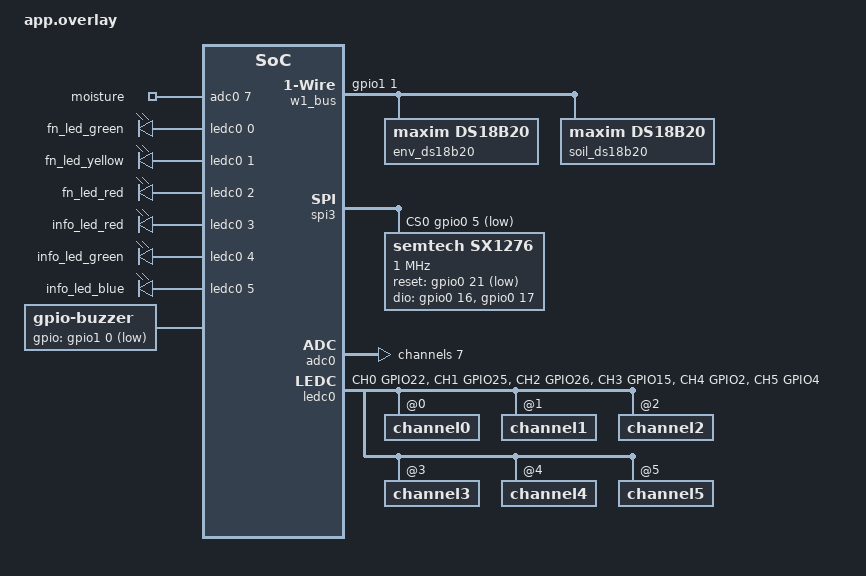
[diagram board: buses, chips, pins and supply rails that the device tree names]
&spi3 {
  status = "okay";
  cs-gpios = <&gpio0 5 (GPIO_ACTIVE_LOW | GPIO_PULL_UP)>;

  sx1276: lora@0 {
    compatible = "semtech,sx1276";
    reg = <0>;

    reset-gpios = <&gpio0 21 GPIO_ACTIVE_LOW>;

    // order of dio pins matters - idx 0 -> DIO0, idx 1 -> DIO1 and so on
    dio-gpios = <&gpio0 16 (GPIO_PULL_DOWN | GPIO_ACTIVE_HIGH)>,
      <&gpio0 17 (GPIO_PULL_DOWN | GPIO_ACTIVE_HIGH)>;
    spi-max-frequency = <1000000>;
    power-amplifier-output = "pa-boost";
  };
};


&adc0 {
    status = "okay";
    #address-cells = <1>;
    #size-cells = <0>;

    channel@7 {
        reg = <7>;
        zephyr,gain = "ADC_GAIN_1_4";
        zephyr,reference = "ADC_REF_INTERNAL";
        zephyr,acquisition-time = <ADC_ACQ_TIME_DEFAULT>;
        zephyr,resolution = <12>;
        zephyr,vref-mv = <1100>;
    };
};


&pinctrl {
  ledc0_default: ledc0_default {
    // function led green
    group1 {
      pinmux =
        <LEDC_CH0_GPIO22>, // fn-led-green

        // In prod
        /* <LEDC_CH1_GPIO1>, // fn-led-yellow */
        /* <LEDC_CH2_GPIO3>, // fn-led-red */

        // When testing to keep UART
        <LEDC_CH1_GPIO25>, // fn-led-yellow
        <LEDC_CH2_GPIO26>, // fn-led-red

        <LEDC_CH3_GPIO15>, // info-led-red
        <LEDC_CH4_GPIO2>, // info-led-green
        <LEDC_CH5_GPIO4>; // info-led-blue
      output-enable;
    };
  };
};

&ledc0 {
  pinctrl-0 = <&ledc0_default>;
  pinctrl-names = "default";
  status = "okay";
  #address-cells = <1>;
  #size-cells = <0>;

  // function led green
  channel0@0 {
    reg = <0x0>;
    timer = <0>;
  };

  // function led yellow
  channel1@1 {
    reg = <0x1>;
    timer = <0>;
  };

  // function led red
  channel2@2 {
    reg = <0x2>;
    timer = <0>;
  };

  // info led red
  channel3@3 {
    reg = <0x3>;
    timer = <0>;
  };

  // info led green
  channel4@4 {
    reg = <0x4>;
    timer = <0>;
  };

  // info led blue
  channel5@5 {
    reg = <0x5>;
    timer = <0>;
  };
};

/ {
  leds {
    status = "disabled";
  };

  aliases {
    lora0 = &sx1276;

    fn-led-green = &fn_led_green;
    fn-led-yellow = &fn_led_yellow;
    fn-led-red = &fn_led_red;

    info-led-red = &info_led_red;
    info-led-green = &info_led_green;
    info-led-blue = &info_led_blue;

    env-temp-sensor = &env_ds18b20;
    soil-temp-sensor = &soil_ds18b20;
    w1 = &w1_bus;
    buzzer = &buzzer;
  };

  zephyr,user {
    io-channels = <&adc0 7>;
    io-channel-names = "moisture";
  };

  pwmleds {
    compatible = "pwm-leds";
    fn_led_green: fn_led_green {
      pwms = <&ledc0 0 10000 PWM_POLARITY_NORMAL>;
    };

    fn_led_yellow: fn_led_yellow {
      pwms = <&ledc0 1 10000 PWM_POLARITY_NORMAL>;
    };

    fn_led_red: fn_led_red {
      pwms = <&ledc0 2 10000 PWM_POLARITY_NORMAL>;
    };

    info_led_red: info_led_red {
      pwms = <&ledc0 3 10000 PWM_POLARITY_NORMAL>;
    };

    info_led_green: info_led_green {
      pwms = <&ledc0 4 10000 PWM_POLARITY_NORMAL>;
    };

    info_led_blue: info_led_blue {
      pwms = <&ledc0 5 10000 PWM_POLARITY_NORMAL>;
    };
  };

  buzzer: buzzer {
    compatible = "gpio-buzzer";
    gpios = <&gpio1 0 (GPIO_ACTIVE_LOW | GPIO_PULL_UP)>;
  };

  w1_bus: w1-bus {
    compatible = "zephyr,w1-gpio";
    // gpio1 is the second gpio controller, offset by 32, thus 
    // 33 (actual pin) - 32 -> 1
    gpios = <&gpio1 1 (GPIO_ACTIVE_HIGH | GPIO_OPEN_DRAIN)>;
    status = "okay";

    env_ds18b20: env_ds18b20 {
      compatible = "maxim,ds18b20";
      family-code = <0x28>;
      resolution = <12>;
      status = "okay";
    };

    soil_ds18b20: soil_ds18b20 {
      compatible = "maxim,ds18b20";
      family-code = <0x28>;
      resolution = <12>;
      status = "okay";
    };
  };
};
